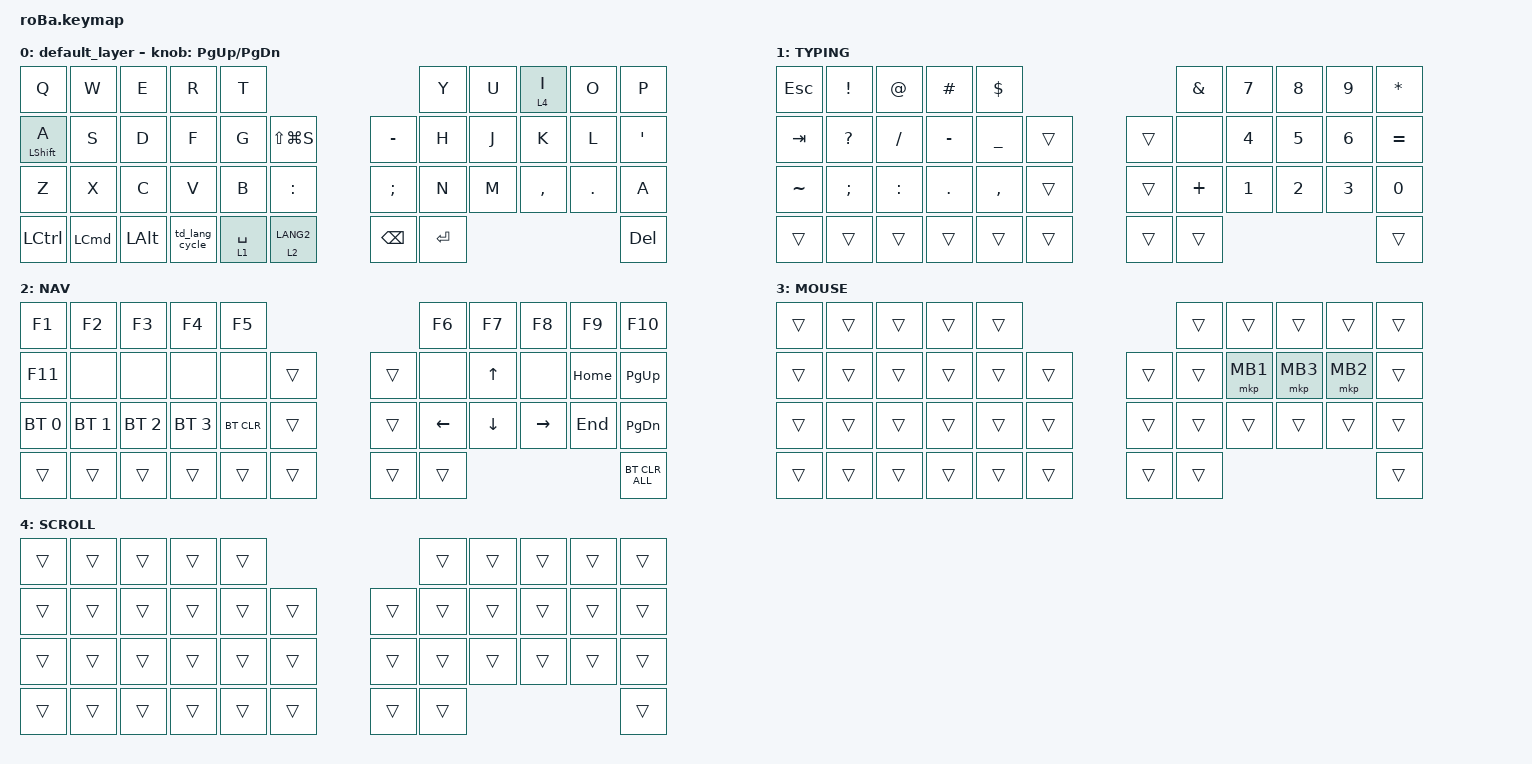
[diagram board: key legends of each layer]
#include <behaviors.dtsi>
#include <dt-bindings/zmk/bt.h>
#include <dt-bindings/zmk/keys.h>
#include <dt-bindings/zmk/pointing.h>

&mt {
    flavor = "balanced";
    quick-tap-ms = <0>;
};

&trackball {
    automouse-layer = <3>;
    scroll-layers = <4>;

    // arrows {
    //     layers = <3>;
    //     bindings =
    //         <&kp RIGHT_ARROW>,
    //         <&kp LEFT_ARROW>,
    //         <&kp UP_ARROW>,
    //         <&kp DOWN_ARROW>;
    //     tick = <10>;
    //     wait-ms = <5>;
    //     tap-ms = <5>;
    // };
};

/ {
    combos {
        compatible = "zmk,combos";

        tab {
            bindings = <&kp TAB>;
            key-positions = <11 12>;
        };

        shift_tab {
            bindings = <&kp LS(TAB)>;
            key-positions = <12 13>;
        };

        muhennkann {
            bindings = <&to_layer_0 INT_MUHENKAN>;
            key-positions = <11 10>;
        };

        double_quotation {
            bindings = <&kp DOUBLE_QUOTES>;
            key-positions = <20 21>;
        };

        eq {
            bindings = <&kp EQUAL>;
            key-positions = <24 25>;
        };
    };

    macros {
        to_layer_0: to_layer_0 {
            compatible = "zmk,behavior-macro-one-param";
            #binding-cells = <1>;
            bindings = <&to 0 &macro_param_1to1 &kp MACRO_PLACEHOLDER>;
            label = "TO_LAYER_0";
        };

        td_lang_m: td_lang_m {
            compatible = "zmk,behavior-macro-one-param";
            #binding-cells = <1>;
            bindings = <&td_lang>;
            label = "TD_LANG_M";
        };
    };

    behaviors {
        lt_to_layer_0: lt_to_layer_0 {
            compatible = "zmk,behavior-hold-tap";
            label = "LAYER_TAP_TO_0";
            bindings = <&mo>, <&to_layer_0>;

            #binding-cells = <2>;
            tapping-term-ms = <200>;
        };

        td_lang: td_lang {
            compatible = "zmk,behavior-tap-dance";
            label = "TD_LANG";
            #binding-cells = <0>;
            tapping-term-ms = <200>;
            bindings = <&kp LANG2>, <&kp LANG1>;
        };

        lt_lang: lt_lang {
            compatible = "zmk,behavior-hold-tap";
            label = "LT_LANG";
            bindings = <&mo>, <&td_lang_m>;

            #binding-cells = <2>;
            tapping-term-ms = <200>;
        };

        td_lang_cycle: td_lang_cycle {
            compatible = "zmk,behavior-tap-dance";
            label = "TD_LANG_CYCLE";
            #binding-cells = <0>;
            tapping-term-ms = <250>;
            bindings = <&kp LANG1>, <&kp LANG3>, <&kp LANG2>;
        };
    };

    keymap {
        compatible = "zmk,keymap";

        default_layer {
            bindings = <
&kp Q              &kp W         &kp E         &kp R                        &kp T                                                          &kp Y        &kp U  &lt 4 I    &kp O    &kp P
&mt LEFT_SHIFT A   &kp S         &kp D         &kp F                        &kp G        &kp LS(LG(S))                      &kp MINUS      &kp H        &kp J  &kp K      &kp L    &kp SQT
&kp Z              &kp X         &kp C         &kp V                        &kp B        &kp COLON                          &kp SEMICOLON  &kp N        &kp M  &kp COMMA  &kp DOT  &kp A
&kp LCTRL          &kp LCMD      &kp LEFT_ALT  &td_lang_cycle               &lt 1 SPACE  &lt 2 LANG2                         &kp BACKSPACE  &kp ENTER                               &kp DEL
            >;

            sensor-bindings = <&inc_dec_kp PG_UP PAGE_DOWN>;
        };

        TYPING {
            bindings = <
&kp ESC   &kp EXCL      &kp AT       &kp HASH    &kp DOLLAR                                            &kp AMPS   &kp N7  &kp N8  &kp N9   &kp ASTERISK
&kp TAB   &kp QUESTION  &kp SLASH    &kp MINUS   &kp UNDER    &trans                       &trans      &none      &kp N4  &kp N5  &kp N6   &kp EQUAL
&kp TILDE &kp SEMI      &kp COLON    &kp DOT     &kp COMMA    &trans                       &trans      &kp PLUS   &kp N1  &kp N2  &kp N3   &kp N0
&trans    &trans        &trans       &trans      &trans       &trans                       &trans      &trans                              &trans
            >;
        };

        NAV {
            bindings = <
&kp F1    &kp F2        &kp F3       &kp F4      &kp F5                                                &kp F6     &kp F7     &kp F8     &kp F9     &kp F10
&kp F11   &none         &none        &none       &none        &trans                       &trans      &none      &kp UP     &none      &kp HOME   &kp PG_UP
&bt BT_SEL 0  &bt BT_SEL 1  &bt BT_SEL 2  &bt BT_SEL 3  &bt BT_CLR  &trans                  &trans      &kp LEFT   &kp DOWN   &kp RIGHT  &kp END    &kp PG_DN
&trans    &trans        &trans       &trans      &trans       &trans                       &trans      &trans                                      &bt BT_CLR_ALL
            >;
        };

        MOUSE {
            bindings = <
&trans  &trans  &trans  &trans  &trans                      &trans  &trans    &trans    &trans    &trans
&trans  &trans  &trans  &trans  &trans  &trans      &trans  &trans  &mkp MB1  &mkp MB3  &mkp MB2  &trans
&trans  &trans  &trans  &trans  &trans  &trans      &trans  &trans  &trans    &trans    &trans    &trans
&trans  &trans  &trans  &trans  &trans  &trans      &trans  &trans                                &trans
            >;
        };

        SCROLL {
            bindings = <
&trans  &trans  &trans  &trans  &trans                      &trans  &trans  &trans  &trans  &trans
&trans  &trans  &trans  &trans  &trans  &trans      &trans  &trans  &trans  &trans  &trans  &trans
&trans  &trans  &trans  &trans  &trans  &trans      &trans  &trans  &trans  &trans  &trans  &trans
&trans  &trans  &trans  &trans  &trans  &trans      &trans  &trans                          &trans
            >;
        };
    };
};
